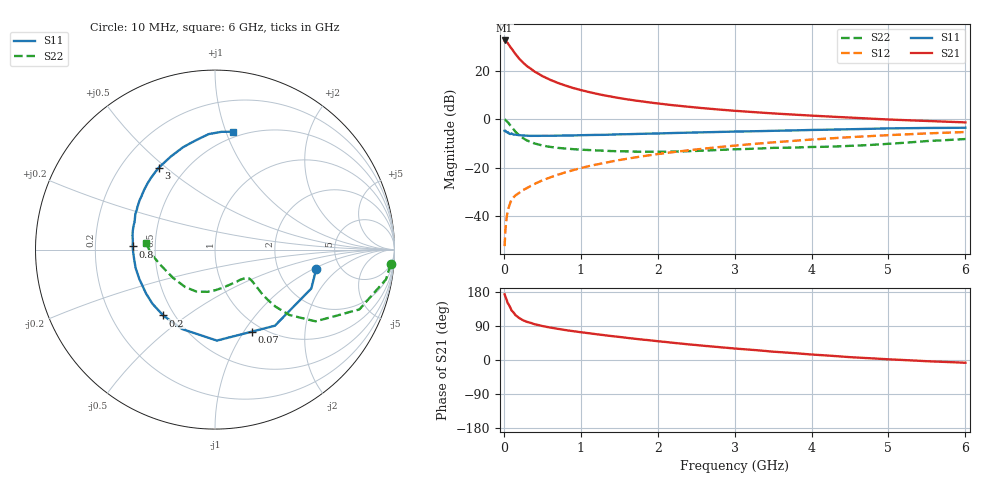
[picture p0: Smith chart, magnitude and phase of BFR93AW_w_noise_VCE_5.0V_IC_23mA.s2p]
! Infineon Technologies  Discrete & RF Semiconductors
! BFR93AW
! VCE =  5.0 V,  IC =  23 mA
! Common Emitter S-Parameters:  Jan 2017
# GHz  S  MA  R  50
!  f  S11  S21  S12  S22
! GHz  MAG  ANG  MAG  ANG  MAG  ANG  MAG  ANG
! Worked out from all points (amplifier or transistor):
!   77 points, 10 MHz to 6 GHz, reference 50 ohm
!   highest |S21| = 32.4 dB at 10 MHz (marker M1)
!   |S21| within 3 dB of that: start of sweep to 91.84 MHz
!   unconditionally stable (mu >= 1): 647.2 MHz to 2.033 GHz
!   at 130 MHz: K = 0.47, MSG = 30.0 dB, |S12| = -32.1 dB
!   at 2.2 GHz: K = 0.99, MSG = 9.7 dB, |S12| = -13.6 dB
!   at 6 GHz: K = 0.88, MSG = 2.0 dB, |S12| = -5.3 dB
!   lowest NFmin = 1.60 dB at 450 MHz
!   S11 on the Smith chart (normalised r, x): 10 MHz: 3.31, -1.08; 70 MHz: 0.89, -1.09; 200 MHz: 0.44, -0.41; 800 MHz: 0.37, +0.02; 3 GHz: 0.36, +0.47; 6 GHz: 0.45, +1.06
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0.01  0.5741 -11.0  41.9 173.3  0.0024 83.0  0.9822 -4.8
0.02  0.5787 -22.0  41.7 167.3  0.0051 83.2  0.9667 -9.9
0.05  0.5397 -51.8  37.05 150.5  0.0127 70.3  0.8711 -22.5
0.07  0.5009 -65.9  33.21 143.8  0.0163 65.6  0.7933 -27.0
0.1  0.507 -88.8  28.55 130.8  0.0218 61.5  0.6881 -35.5
0.15  0.4791 -112.5  22.06 118.6  0.0267 56.9  0.5519 -41.3
0.2  0.4668 -128.2  17.63 110.7  0.0302 57.4  0.4636 -43.3
0.25  0.4609 -139.1  14.62 104.8  0.0344 58.1  0.4054 -43.6
0.3  0.4554 -147.4  12.4 100.7  0.0379 59.8  0.3631 -43.3
0.4  0.4524 -158.6  9.554 94.3  0.0461 62.7  0.3145 -41.9
0.5  0.4539 -166.8  7.725 89.7  0.0545 64.5  0.286 -40.9
0.6  0.4536 -172.8  6.5 85.7  0.0626 66.1  0.2679 -40.3
0.7  0.4558 -177.7  5.596 82.3  0.0712 67.7  0.2557 -40.0
0.8  0.4592 177.8  4.93 79.0  0.0799 68.6  0.2471 -40.5
1.1  0.4698 167.1  3.636 70.8  0.1069 68.9  0.2306 -43.9
1.5  0.4861 156.0  2.718 60.9  0.1431 67.7  0.2172 -52.4
2.1  0.5111 141.9  2.019 47.6  0.1995 64.0  0.2127 -71.0
3  0.5539 124.4  1.486 30.3  0.2842 56.5  0.2389 -100.1
3.1  0.5568 122.5  1.449 28.8  0.2935 55.5  0.2411 -103.0
4.1  0.6012 105.7  1.159 13.2  0.388 45.4  0.2677 -132.1
5.1  0.6465 91.8  0.968 0.9  0.4749 34.3  0.3171 -165.0
6  0.6645 81.2  0.856 -7.3  0.5427 24.1  0.3885 174.5
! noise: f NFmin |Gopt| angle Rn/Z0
0.45  1.6  0.15  166  0.15
0.9  1.88  0.24  177  0.16
1.9  2.89  0.48  -138  0.24
2.4  3.53  0.55  -126  0.48
